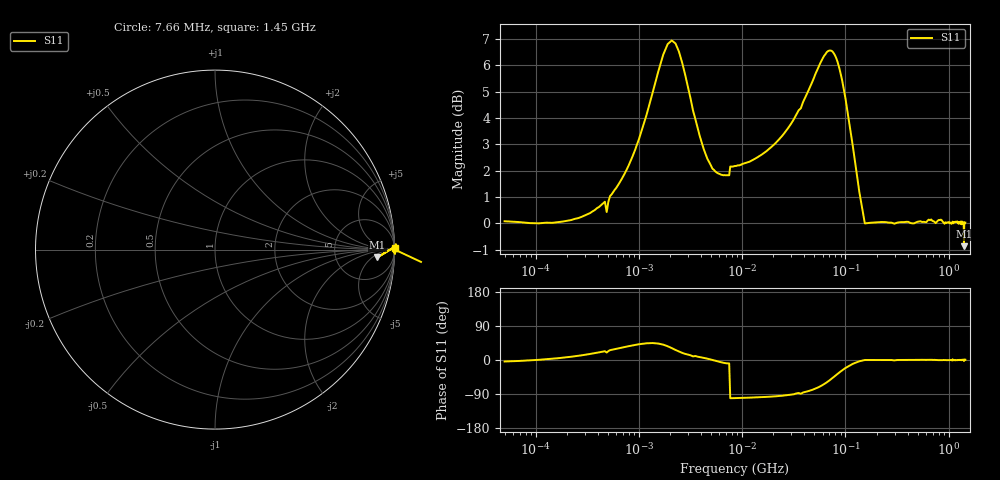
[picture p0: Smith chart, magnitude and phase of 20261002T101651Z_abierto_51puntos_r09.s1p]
! piloto_saltos / abierto_51puntos / r09
# HZ S RI R 50
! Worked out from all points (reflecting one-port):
!   251 points, 50 kHz to 1.45 GHz, reference 50 ohm
!   lowest |S11| = -0.9 dB at 1.405 GHz (marker M1), VSWR 20.19, Z = 818 - j395 ohm
!   phase of S11 starts at -4 deg and turns +4 deg over the sweep
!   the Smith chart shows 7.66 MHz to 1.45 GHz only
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50000  1.007 -0.0698
183000  1.003 0.1062
468000  1.011 0.4329
487000  0.9899 0.3539
658000  1.021 0.6308
1180000  1.152 1.115
1720000  1.592 1.357
2080000  1.9 1.157
2440000  1.958 0.8073
3340000  1.615 0.2713
4600000  1.324 0.0818
7480000  1.219 -0.1923
7660000  -0.2421 -1.259
8560000  -0.2362 -1.264
3.16e7  -0.011 -1.576
3.7e7  0.0282 -1.654
4.78e7  0.3669 -1.821
6.58e7  1.086 -1.813
7.48e7  1.428 -1.566
8.74e7  1.655 -1.063
1e8  1.611 -0.6204
1.18e8  1.378 -0.2423
1.54e8  1 0.00056
4.06e8  1.007 0.00256
1.351e9  1.008 0.00425
1.405e9  0.9046 -0.0434
1.414e9  1.006 0.0169
1.45e9  1.003 0.00905
